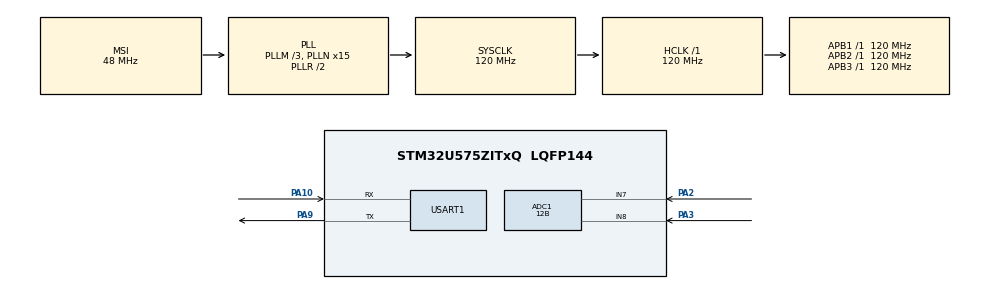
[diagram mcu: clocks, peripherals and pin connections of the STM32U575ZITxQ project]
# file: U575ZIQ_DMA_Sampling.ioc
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ADC1.Channel-0\#ChannelRegularConversion=ADC_CHANNEL_7
ADC1.ClockPrescaler=ADC_CLOCK_ASYNC_DIV2
ADC1.ContinuousConvMode=ENABLE
ADC1.ConversionDataManagement=ADC_CONVERSIONDATA_DMA_CIRCULAR
ADC1.DiscontinuousConvMode=DISABLE
ADC1.EnableRegularConversion=ENABLE
ADC1.GainCompensation=0
ADC1.LowPowerAutoWait=DISABLE
ADC1.MonitoredBy-0\#ChannelRegularConversion=__NULL
ADC1.NbrOfConversion=1
ADC1.NbrOfConversionFlag=1
ADC1.OffsetNumber-0\#ChannelRegularConversion=ADC_OFFSET_NONE
ADC1.Rank-0\#ChannelRegularConversion=1
ADC1.Ratio1=16
ADC1.Resolution=ADC_RESOLUTION_12B
ADC1.SamplingTime-0\#ChannelRegularConversion=ADC_SAMPLETIME_5CYCLE
ADC1.SingleDiff-0\#ChannelRegularConversion=ADC_DIFFERENTIAL_ENDED
ADC1.master=1
CORTEX_M33_NS.userName=CORTEX_M33
GPDMA1.CIRCULARMODE_GPDMACH7=ENABLE
GPDMA1.DESTDATAWIDTH_GPDMACH7=DMA_DEST_DATAWIDTH_WORD
GPDMA1.DESTINC_GPDMACH7=DMA_DINC_INCREMENTED
GPDMA1.DIRECTION_GPDMACH0=DMA_MEMORY_TO_PERIPH
GPDMA1.IPHANDLE_GPDMACH0-SIMPLEREQUEST_GPDMACH0=__NULL
GPDMA1.IPHANDLE_GPDMACH7-SIMPLEREQUEST_GPDMACH7=__NULL
GPDMA1.PRIORITY_GPDMACH0=DMA_LOW_PRIORITY_HIGH_WEIGHT
GPDMA1.PRIORITY_LL_CIRCULAR_GPDMACH7=DMA_LOW_PRIORITY_HIGH_WEIGHT
GPDMA1.REQUEST_GPDMACH0=GPDMA1_REQUEST_USART1_TX
GPDMA1.REQUEST_GPDMACH7=GPDMA1_REQUEST_ADC1
GPDMA1.SRCDATAWIDTH_GPDMACH7=DMA_SRC_DATAWIDTH_WORD
GPDMA1.SRCINC_GPDMACH0=DMA_SINC_INCREMENTED
Mcu.Family=STM32U5
Mcu.Name=STM32U575ZITxQ
Mcu.Package=LQFP144
NVIC.GPDMA1_Channel0_IRQn=true\:0\:0\:false\:false\:true\:false\:true\:true
NVIC.GPDMA1_Channel7_IRQn=true\:0\:0\:false\:false\:true\:false\:true\:true
NVIC.PriorityGroup=NVIC_PRIORITYGROUP_4
NVIC.USART1_IRQn=true\:0\:0\:false\:false\:true\:true\:true\:true
PA10.Mode=Asynchronous
PA10.Signal=USART1_RX
PA2.Mode=IN7-Differential
PA2.Signal=ADC1_IN7
PA3.Mode=IN7-Differential
PA3.Signal=ADC1_IN8
PA9.Mode=Asynchronous
PA9.Signal=USART1_TX
ProjectManager.HeapSize=0x200
ProjectManager.StackSize=0x400
ProjectManager.TargetToolchain=STM32CubeIDE
RCC.ADCFreq_Value=16000000
RCC.AHBFreq_Value=120000000
RCC.APB1Freq_Value=120000000
RCC.APB1TimFreq_Value=120000000
RCC.APB2Freq_Value=120000000
RCC.APB2TimFreq_Value=120000000
RCC.APB3Freq_Value=120000000
RCC.CortexFreq_Value=120000000
RCC.EPOD_VALUE=48000000
RCC.HCLKFreq_Value=120000000
RCC.HSE_VALUE=16000000
RCC.HSI48_VALUE=48000000
RCC.HSI_VALUE=16000000
RCC.LSE_VALUE=32768
RCC.LSIDIV_VALUE=32000
RCC.MSIClockRange=RCC_MSIRANGE_0
RCC.MSI_VALUE=48000000
RCC.PLLFRACN=0
RCC.PLLM=3
RCC.PLLN=15
RCC.SYSCLKFreq_VALUE=120000000
RCC.SYSCLKSource=RCC_SYSCLKSOURCE_PLLCLK
RCC.USBFreq_Value=48000000
RCC.VCOOutputFreq_Value=240000000
USART1.FIFOMode=FIFOMODE_ENABLE
USART1.VirtualMode-Asynchronous=VM_ASYNC
USART1.WordLength=WORDLENGTH_8B
VP_CRC_VS_CRC.Mode=CRC_Activate
VP_GPDMA1_VS_GPDMACH0.Mode=SIMPLEREQUEST_GPDMACH0
VP_GPDMA1_VS_GPDMACH7.Mode=SIMPLEREQUEST_GPDMACH7
VP_ICACHE_VS_ICACHE.Mode=DirectMappedCache
VP_LPBAMQUEUE_VS_QUEUE.Mode=QUEUEMODE
VP_LPBAM_VS_SIG1.Mode=SmartRun
VP_LPBAM_VS_SIG4.Mode=LPDMA1
VP_MEMORYMAP_VS_MEMORYMAP.Mode=CurAppReg
VP_PWR_VS_SECSignals.Mode=Security/Privilege
VP_PWR_Vdda.Mode=isolationVdda
board=custom

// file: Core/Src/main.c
/* USER CODE BEGIN Header */
/**
  ******************************************************************************
  * @file           : main.c
  * @brief          : Main program body
  ******************************************************************************
  * @attention
  *
  * Copyright (c) 2025 STMicroelectronics.
  * All rights reserved.
  *
  * This software is licensed under terms that can be found in the LICENSE file
  * in the root directory of this software component.
  * If no LICENSE file comes with this software, it is provided AS-IS.
  *
  ******************************************************************************
  */
/* USER CODE END Header */
#include "main.h"

/* USER CODE BEGIN Includes */
#include "string.h"
/* USER CODE END Includes */

/* USER CODE BEGIN PD */

#define ADC_WORD_LENGTH ((size_t) (5000))

/* USER CODE END PD */

ADC_HandleTypeDef hadc1;
DMA_NodeTypeDef Node_GPDMA1_Channel7;
DMA_QListTypeDef List_GPDMA1_Channel7;
DMA_HandleTypeDef handle_GPDMA1_Channel7;

CRC_HandleTypeDef hcrc;

UART_HandleTypeDef huart1;
DMA_HandleTypeDef handle_GPDMA1_Channel0;

/* USER CODE BEGIN PV */

uint32_t adc_word_buffer[ADC_WORD_LENGTH];
uint8_t tx_buffer[ADC_WORD_LENGTH * 2 + 4];

const char* debug_state = NULL;

//uint8_t data[ADC_WORD_LENGTH * 4];

/* USER CODE END PV */

void SystemClock_Config(void);
static void MX_GPIO_Init(void);
static void MX_GPDMA1_Init(void);
static void MX_ADC1_Init(void);
static void MX_USART1_UART_Init(void);
static void MX_ICACHE_Init(void);
static void MX_CRC_Init(void);

/* USER CODE BEGIN 0 */

void Signal_Sampling_Start(void)
{
	if (HAL_ADC_Start_DMA(&hadc1, ((uint32_t*)(adc_word_buffer)), ADC_WORD_LENGTH) != HAL_OK)
	{
		Error_Handler();
	}
}

void Signal_Sampling_Stop(void)
{
	HAL_ADC_Stop_DMA(&hadc1);
}

void HAL_UART_TxCpltCallback(UART_HandleTypeDef *huart)
{
	if (huart == &huart1)
	{
		debug_state = "HAL_UART_TxCpltCallback";
//		while (!(huart1.Instance->ISR & UART_FLAG_TC));
		Signal_Sampling_Start();
	}
}

void HAL_ADC_ConvCpltCallback(ADC_HandleTypeDef *hadc)
{

	if (hadc == &hadc1)
	{
		debug_state = "HAL_ADC_ConvCpltCallback";
		Signal_Sampling_Stop();

		for (size_t i = 0; i < ADC_WORD_LENGTH; i++)
		{
			tx_buffer[2 + i * 2 + 0] = ((uint8_t)((adc_word_buffer[i] >> 0) & 0xff));
			tx_buffer[2 + i * 2 + 1] = ((uint8_t)((adc_word_buffer[i] >> 8) & 0x0f));
		}

		tx_buffer[0] = 0xFF;
		tx_buffer[1] = 0xFA;

		tx_buffer[2 + ADC_WORD_LENGTH * 2 + 0] = 0xFF;
		tx_buffer[2 + ADC_WORD_LENGTH * 2 + 1] = 0xFB;

//		while (!(huart1.Instance->ISR & UART_FLAG_TXE));
//
//		HAL_UART_Transmit(&huart1, tx_buffer, ADC_WORD_LENGTH * 2 + 4, HAL_MAX_DELAY);
//
//		while (!(huart1.Instance->ISR & UART_FLAG_TC));

		HAL_UART_Transmit_DMA(&huart1, tx_buffer, ADC_WORD_LENGTH * 2 + 4);

	}

}

/* USER CODE END 0 */

int main(void)
{

  /* MCU Configuration--------------------------------------------------------*/

  /* Reset of all peripherals, Initializes the Flash interface and the Systick. */
  HAL_Init();

  /* Configure the system clock */
  SystemClock_Config();

  /* Initialize all configured peripherals */
  MX_GPIO_Init();
  MX_GPDMA1_Init();
  MX_ADC1_Init();
  MX_USART1_UART_Init();
  MX_ICACHE_Init();
  MX_CRC_Init();
  /* USER CODE BEGIN 2 */

  Signal_Sampling_Start();
  /* USER CODE END 2 */

  /* Infinite loop */
  while (1)
  {

  }
}

void SystemClock_Config(void)
{
  RCC_OscInitTypeDef RCC_OscInitStruct = {0};
  RCC_ClkInitTypeDef RCC_ClkInitStruct = {0};

  /** Configure the main internal regulator output voltage
  */
  if (HAL_PWREx_ControlVoltageScaling(PWR_REGULATOR_VOLTAGE_SCALE1) != HAL_OK)
  {
    Error_Handler();
  }

  /** Initializes the CPU, AHB and APB buses clocks
  */
  RCC_OscInitStruct.OscillatorType = RCC_OSCILLATORTYPE_HSI|RCC_OSCILLATORTYPE_MSI;
  RCC_OscInitStruct.HSIState = RCC_HSI_ON;
  RCC_OscInitStruct.HSICalibrationValue = RCC_HSICALIBRATION_DEFAULT;
  RCC_OscInitStruct.MSIState = RCC_MSI_ON;
  RCC_OscInitStruct.MSICalibrationValue = RCC_MSICALIBRATION_DEFAULT;
  RCC_OscInitStruct.MSIClockRange = RCC_MSIRANGE_0;
  RCC_OscInitStruct.PLL.PLLState = RCC_PLL_ON;
  RCC_OscInitStruct.PLL.PLLSource = RCC_PLLSOURCE_MSI;
  RCC_OscInitStruct.PLL.PLLMBOOST = RCC_PLLMBOOST_DIV4;
  RCC_OscInitStruct.PLL.PLLM = 3;
  RCC_OscInitStruct.PLL.PLLN = 15;
  RCC_OscInitStruct.PLL.PLLP = 2;
  RCC_OscInitStruct.PLL.PLLQ = 2;
  RCC_OscInitStruct.PLL.PLLR = 2;
  RCC_OscInitStruct.PLL.PLLRGE = RCC_PLLVCIRANGE_1;
  RCC_OscInitStruct.PLL.PLLFRACN = 0;
  if (HAL_RCC_OscConfig(&RCC_OscInitStruct) != HAL_OK)
  {
    Error_Handler();
  }

  /** Initializes the CPU, AHB and APB buses clocks
  */
  RCC_ClkInitStruct.ClockType = RCC_CLOCKTYPE_HCLK|RCC_CLOCKTYPE_SYSCLK
                              |RCC_CLOCKTYPE_PCLK1|RCC_CLOCKTYPE_PCLK2
                              |RCC_CLOCKTYPE_PCLK3;
  RCC_ClkInitStruct.SYSCLKSource = RCC_SYSCLKSOURCE_PLLCLK;
  RCC_ClkInitStruct.AHBCLKDivider = RCC_SYSCLK_DIV1;
  RCC_ClkInitStruct.APB1CLKDivider = RCC_HCLK_DIV1;
  RCC_ClkInitStruct.APB2CLKDivider = RCC_HCLK_DIV1;
  RCC_ClkInitStruct.APB3CLKDivider = RCC_HCLK_DIV1;

  if (HAL_RCC_ClockConfig(&RCC_ClkInitStruct, FLASH_LATENCY_3) != HAL_OK)
  {
    Error_Handler();
  }
}

static void MX_ADC1_Init(void)
{

  ADC_ChannelConfTypeDef sConfig = {0};

  /** Common config
  */
  hadc1.Instance = ADC1;
  hadc1.Init.ClockPrescaler = ADC_CLOCK_ASYNC_DIV2;
  hadc1.Init.Resolution = ADC_RESOLUTION_12B;
  hadc1.Init.GainCompensation = 0;
  hadc1.Init.ScanConvMode = ADC_SCAN_DISABLE;
  hadc1.Init.EOCSelection = ADC_EOC_SINGLE_CONV;
  hadc1.Init.LowPowerAutoWait = DISABLE;
  hadc1.Init.ContinuousConvMode = ENABLE;
  hadc1.Init.NbrOfConversion = 1;
  hadc1.Init.DiscontinuousConvMode = DISABLE;
  hadc1.Init.ExternalTrigConv = ADC_SOFTWARE_START;
  hadc1.Init.ExternalTrigConvEdge = ADC_EXTERNALTRIGCONVEDGE_NONE;
  hadc1.Init.DMAContinuousRequests = DISABLE;
  hadc1.Init.TriggerFrequencyMode = ADC_TRIGGER_FREQ_HIGH;
  hadc1.Init.Overrun = ADC_OVR_DATA_PRESERVED;
  hadc1.Init.LeftBitShift = ADC_LEFTBITSHIFT_NONE;
  hadc1.Init.ConversionDataManagement = ADC_CONVERSIONDATA_DMA_CIRCULAR;
  hadc1.Init.OversamplingMode = DISABLE;
  if (HAL_ADC_Init(&hadc1) != HAL_OK)
  {
    Error_Handler();
  }

  /** Configure Regular Channel
  */
  sConfig.Channel = ADC_CHANNEL_7;
  sConfig.Rank = ADC_REGULAR_RANK_1;
  sConfig.SamplingTime = ADC_SAMPLETIME_5CYCLE;
  sConfig.SingleDiff = ADC_DIFFERENTIAL_ENDED;
  sConfig.OffsetNumber = ADC_OFFSET_NONE;
  sConfig.Offset = 0;
  if (HAL_ADC_ConfigChannel(&hadc1, &sConfig) != HAL_OK)
  {
    Error_Handler();
  }
  /* USER CODE BEGIN ADC1_Init 2 */
//    if (HAL_ADCEx_Calibration_Start(&hadc1, ADC_CALIB_OFFSET, ADC_DIFFERENTIAL_ENDED) != HAL_OK)
//    {
//      Error_Handler();
//    }
  /* USER CODE END ADC1_Init 2 */

}

static void MX_CRC_Init(void)
{

  hcrc.Instance = CRC;
  hcrc.Init.DefaultPolynomialUse = DEFAULT_POLYNOMIAL_ENABLE;
  hcrc.Init.DefaultInitValueUse = DEFAULT_INIT_VALUE_ENABLE;
  hcrc.Init.InputDataInversionMode = CRC_INPUTDATA_INVERSION_NONE;
  hcrc.Init.OutputDataInversionMode = CRC_OUTPUTDATA_INVERSION_DISABLE;
  hcrc.InputDataFormat = CRC_INPUTDATA_FORMAT_BYTES;
  if (HAL_CRC_Init(&hcrc) != HAL_OK)
  {
    Error_Handler();
  }

}

static void MX_GPDMA1_Init(void)
{

  /* Peripheral clock enable */
  __HAL_RCC_GPDMA1_CLK_ENABLE();

  /* GPDMA1 interrupt Init */
    HAL_NVIC_SetPriority(GPDMA1_Channel0_IRQn, 0, 0);
    HAL_NVIC_EnableIRQ(GPDMA1_Channel0_IRQn);
    HAL_NVIC_SetPriority(GPDMA1_Channel7_IRQn, 0, 0);
    HAL_NVIC_EnableIRQ(GPDMA1_Channel7_IRQn);

}

static void MX_ICACHE_Init(void)
{

  /** Enable instruction cache in 1-way (direct mapped cache)
  */
  if (HAL_ICACHE_ConfigAssociativityMode(ICACHE_1WAY) != HAL_OK)
  {
    Error_Handler();
  }
  if (HAL_ICACHE_Enable() != HAL_OK)
  {
    Error_Handler();
  }

}

static void MX_USART1_UART_Init(void)
{

  huart1.Instance = USART1;
  huart1.Init.BaudRate = 115200;
  huart1.Init.WordLength = UART_WORDLENGTH_8B;
  huart1.Init.StopBits = UART_STOPBITS_1;
  huart1.Init.Parity = UART_PARITY_NONE;
  huart1.Init.Mode = UART_MODE_TX_RX;
  huart1.Init.HwFlowCtl = UART_HWCONTROL_NONE;
  huart1.Init.OverSampling = UART_OVERSAMPLING_16;
  huart1.Init.OneBitSampling = UART_ONE_BIT_SAMPLE_DISABLE;
  huart1.Init.ClockPrescaler = UART_PRESCALER_DIV1;
  huart1.AdvancedInit.AdvFeatureInit = UART_ADVFEATURE_NO_INIT;
  if (HAL_UART_Init(&huart1) != HAL_OK)
  {
    Error_Handler();
  }
  if (HAL_UARTEx_SetTxFifoThreshold(&huart1, UART_TXFIFO_THRESHOLD_1_8) != HAL_OK)
  {
    Error_Handler();
  }
  if (HAL_UARTEx_SetRxFifoThreshold(&huart1, UART_RXFIFO_THRESHOLD_1_8) != HAL_OK)
  {
    Error_Handler();
  }
  if (HAL_UARTEx_EnableFifoMode(&huart1) != HAL_OK)
  {
    Error_Handler();
  }

}

static void MX_GPIO_Init(void)
{

  /* GPIO Ports Clock Enable */
  __HAL_RCC_GPIOA_CLK_ENABLE();

}

void Error_Handler(void)
{
  __disable_irq();
  while (1)
  {
  }
}
